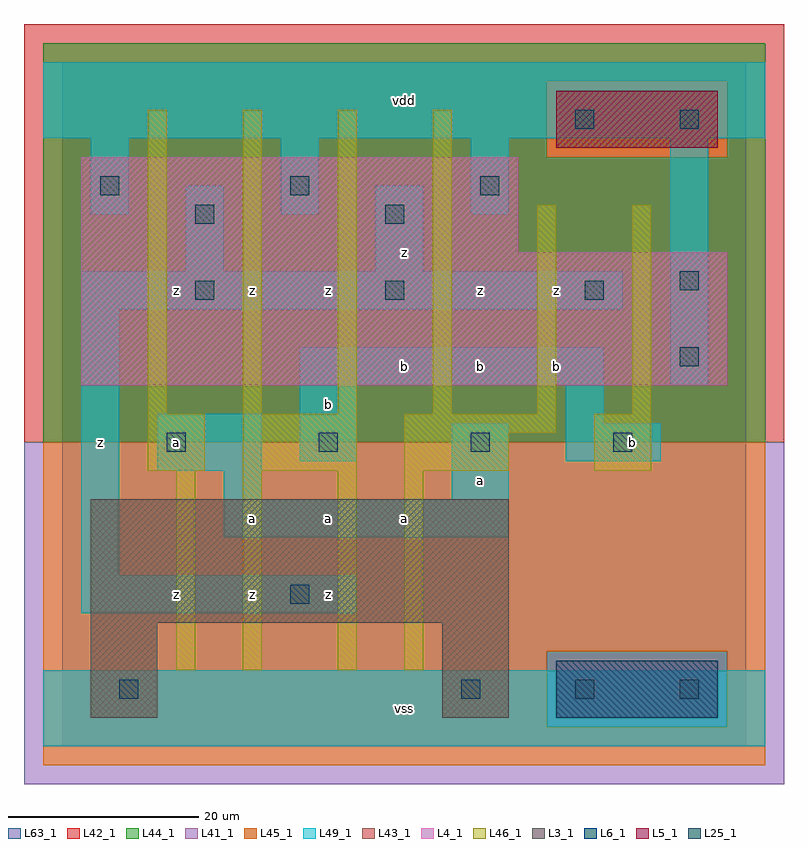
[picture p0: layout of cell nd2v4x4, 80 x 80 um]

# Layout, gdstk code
import gdstk
lib = gdstk.Library(unit=1e-6, precision=1e-09)
def R(c, l, rs):  # rectangles x0, y0, x1, y1
    for r in rs: c.add(gdstk.rectangle(r[:2], r[2:], *l))
def A(c, l, x, y, w, h, nx, ny, dx, dy):  # array of equal rectangles
    R(c, l, [(x+i*dx, y+j*dy, x+i*dx+w, y+j*dy+h) for i in range(nx) for j in range(ny)])
L3_1 = (3, 1)
L4_1 = (4, 1)
L5_1 = (5, 1)
L6_1 = (6, 1)
L25_1 = (25, 1)
L41_1 = (41, 1)
L42_1 = (42, 1)
L43_1 = (43, 1)
L44_1 = (44, 1)
L45_1 = (45, 1)
L46_1 = (46, 1)
L49_1 = (49, 1)
L63_1 = (63, 1)

nd2v4x4 = lib.new_cell('nd2v4x4')
R(nd2v4x4, L3_1, [(3,3,10,13), (40,3,47,13), (3,13,47,26)])
R(nd2v4x4, L4_1, [(2,38,70,52), (2,52,48,62)])
R(nd2v4x4, L5_1, [(52,63,69,69)])
R(nd2v4x4, L6_1, [(52,3,69,9), (52,3,69,9)])
A(nd2v4x4, L25_1, 11, 31, 2, 2, 3, 1, 16, 0)
A(nd2v4x4, L25_1, 4, 58, 2, 2, 3, 1, 20, 0)
R(nd2v4x4, L25_1, [(6,5,8,7), (42,5,44,7), (54,5,56,7), (65,5,67,7), (24,15,26,17), (58,31,60,33), (65,40,67,42), (14,47,16,49), (34,47,36,49), (55,47,57,49), (65,48,67,50), (14,55,16,57), (34,55,36,57), (54,65,56,67), (65,65,67,67)])
R(nd2v4x4, L41_1, [(-4,-4,76,32)])
R(nd2v4x4, L42_1, [(-4,32,76,76)])
R(nd2v4x4, L43_1, [(3,3,10,13), (40,3,47,13), (52,3,69,9), (3,13,47,26), (2,38,70,52), (2,52,48,62), (52,63,69,69)])
R(nd2v4x4, L44_1, [(51,2,70,10), (-2,32,74,62), (-2,62,51,70), (70,62,74,70), (-2,70,74,74)])
R(nd2v4x4, L45_1, [(-2,-2,74,2), (-2,2,51,10), (70,2,74,10), (-2,10,74,32), (51,62,70,70)])
A(nd2v4x4, L46_1, 9, 35, 2, 32, 4, 1, 10, 0)
R(nd2v4x4, L46_1, [(12,8,14,29), (19,8,21,29), (29,8,31,29), (36,8,38,29), (9,29,15,35), (19,29,31,35), (36,29,47,33), (56,29,62,35), (36,33,52,35), (50,35,52,57), (60,35,62,57)])
A(nd2v4x4, L49_1, 3, 56, 4, 8, 3, 1, 20, 0)
R(nd2v4x4, L49_1, [(-2,0,74,8), (2,14,31,18), (2,18,6,46), (17,22,47,26), (17,26,21,29), (41,26,47,34), (10,29,21,35), (25,30,31,38), (53,30,63,34), (53,34,57,38), (25,38,57,42), (64,38,68,64), (2,46,59,50), (13,50,17,59), (33,50,38,59), (-2,64,74,72)])
R(nd2v4x4, L63_1, [(0,0,72,72)])
nd2v4x4.add(gdstk.Label('z', (4,32), layer=49, texttype=1))
nd2v4x4.add(gdstk.Label('z', (20,16), layer=49, texttype=1))
nd2v4x4.add(gdstk.Label('z', (12,16), layer=49, texttype=1))
nd2v4x4.add(gdstk.Label('a', (20,24), layer=49, texttype=1))
nd2v4x4.add(gdstk.Label('a', (12,32), layer=49, texttype=1))
nd2v4x4.add(gdstk.Label('z', (12,48), layer=49, texttype=1))
nd2v4x4.add(gdstk.Label('z', (20,48), layer=49, texttype=1))
nd2v4x4.add(gdstk.Label('vss', (36,4), layer=49, texttype=1))
nd2v4x4.add(gdstk.Label('z', (28,16), layer=49, texttype=1))
nd2v4x4.add(gdstk.Label('a', (28,24), layer=49, texttype=1))
nd2v4x4.add(gdstk.Label('a', (36,24), layer=49, texttype=1))
nd2v4x4.add(gdstk.Label('b', (28,36), layer=49, texttype=1))
nd2v4x4.add(gdstk.Label('b', (36,40), layer=49, texttype=1))
nd2v4x4.add(gdstk.Label('z', (28,48), layer=49, texttype=1))
nd2v4x4.add(gdstk.Label('z', (36,52), layer=49, texttype=1))
nd2v4x4.add(gdstk.Label('vdd', (36,68), layer=49, texttype=1))
nd2v4x4.add(gdstk.Label('a', (44,28), layer=49, texttype=1))
nd2v4x4.add(gdstk.Label('b', (44,40), layer=49, texttype=1))
nd2v4x4.add(gdstk.Label('b', (52,40), layer=49, texttype=1))
nd2v4x4.add(gdstk.Label('z', (44,48), layer=49, texttype=1))
nd2v4x4.add(gdstk.Label('z', (52,48), layer=49, texttype=1))
nd2v4x4.add(gdstk.Label('b', (60,32), layer=49, texttype=1))

lib.write_gds('nd2v4x4.gds')
